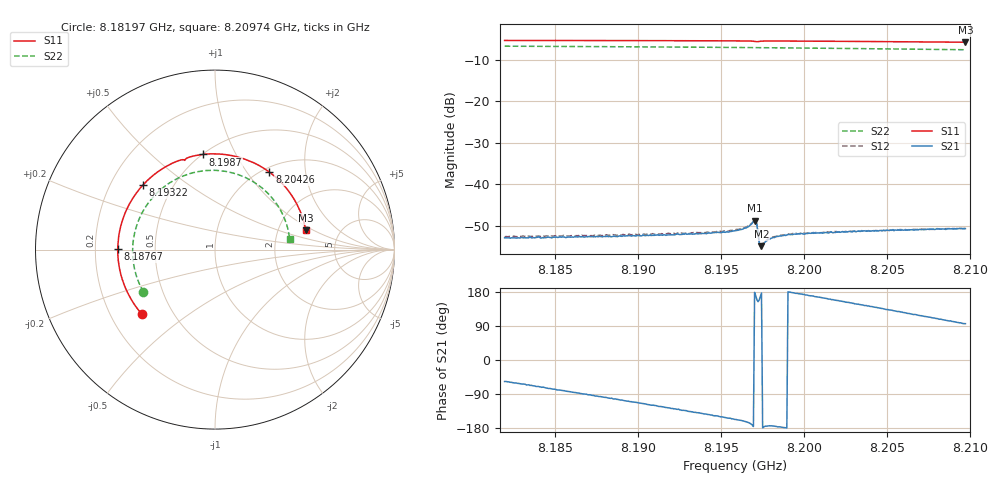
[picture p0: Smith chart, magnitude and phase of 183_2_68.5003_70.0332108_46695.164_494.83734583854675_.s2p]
#  HZ  S  RI  R  50.00
! Rohde & Schwarz Vector Network Analyzer
! Rohde-Schwarz,ZNB20-2Port,1311601062101988,3.16
! Created: UTC 3/20/2024, 4:56:47 PM
! freq[Hz]  re:S11  im:S11  re:S21  im:S21  re:S12  im:S12  re:S22  im:S22
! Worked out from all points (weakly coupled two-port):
!   401 points, 8.18197 GHz to 8.20974 GHz, reference 50 ohm
!   highest |S21| = -48.78 dB at 8.19704 GHz (marker M1); lowest = -54.9 dB at 8.19746 GHz (marker M2)
!   lowest |S11| = -5.7 dB at 8.20974 GHz (marker M3), VSWR 3.14, Z = 143 + j42.3 ohm
!   |S11| at or under -10 dB: nowhere
!   |S22| runs from -7.5 to -6.7 dB; largest |S21 - S12| = 0.00018
!   S11 on the Smith chart (normalised r, x): 8.18197 GHz: 0.33, -0.34; 8.18767 GHz: 0.30, +0.00; 8.19322 GHz: 0.34, +0.34; 8.1987 GHz: 0.50, +0.75; 8.20426 GHz: 1.08, +1.29; 8.20974 GHz: 2.86, +0.85
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8.181975e9  -0.4076 -0.3594  0.00124 -0.0019  0.00127 -0.00195  -0.3987 -0.2367
8.184404e9  -0.4977 -0.2171  0.000667 -0.00218  0.000673 -0.00226  -0.4473 -0.1112
8.186626e9  -0.5378 -0.0681  2.98e-05 -0.00233  2.62e-05 -0.00244  -0.4587 0.011
8.187667e9  -0.5417 0.00453  -0.000267 -0.00235  -0.000287 -0.00242  -0.4525 0.0685
8.189472e9  -0.5255 0.1294  -0.00079 -0.00228  -0.000893 -0.00236  -0.425 0.1645
8.191277e9  -0.4803 0.2474  -0.00131 -0.00205  -0.00141 -0.0021  -0.3771 0.2524
8.193221e9  -0.4023 0.359  -0.00183 -0.00174  -0.00192 -0.00177  -0.3049 0.3325
8.195859e9  -0.2555 0.4724  -0.00254 -0.00108  -0.00263 -0.00104  -0.1801 0.4095
8.196414e9  -0.2194 0.4893  -0.0028 -0.000931  -0.00288 -0.000842  -0.1508 0.4202
8.196969e9  -0.1788 0.5009  -0.00354 -0.000282  -0.00359 -0.000144  -0.1206 0.4288
8.197039e9  -0.1734 0.5004  -0.00364 9.17e-05  -0.00372 0.000226  -0.1169 0.4297
8.197108e9  -0.1691 0.4987  -0.00354 0.000642  -0.00359 0.000813  -0.1131 0.4305
8.197386e9  -0.1617 0.5063  -0.00178 0.000393  -0.0018 0.000456  -0.0981 0.4338
8.197455e9  -0.157 0.5094  -0.00179 0.000106  -0.00182 0.000187  -0.0944 0.4345
8.198011e9  -0.1169 0.5221  -0.00221 -0.000248  -0.00228 -0.000154  -0.0632 0.439
8.198705e9  -0.0677 0.5303  -0.0024 -9.16e-05  -0.00245 1.51e-05  -0.0238 0.4418
8.20051e9  0.0601 0.5291  -0.00254 0.000482  -0.00252 0.000629  0.0778 0.4321
8.202384e9  0.1879 0.4957  -0.00241 0.00117  -0.00237 0.00125  0.1786 0.3971
8.204258e9  0.3036 0.4313  -0.00209 0.00178  -0.00204 0.00185  0.2688 0.3376
8.205161e9  0.3528 0.3902  -0.00186 0.00205  -0.00182 0.00213  0.3066 0.3009
8.207521e9  0.4539 0.2573  -0.00114 0.00263  -0.00104 0.00268  0.3819 0.1852
8.209743e9  0.5059 0.1082  -0.000298 0.00291  -0.000196 0.00294  0.416 0.0572
